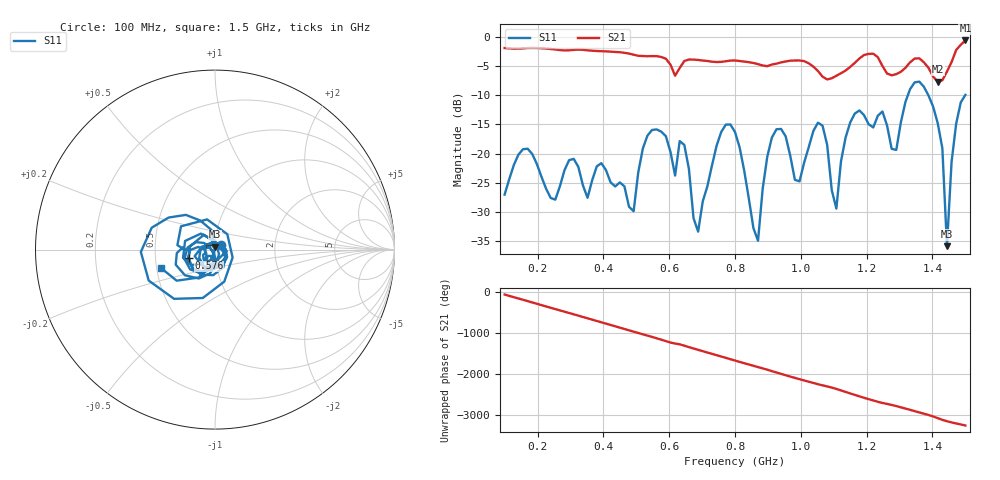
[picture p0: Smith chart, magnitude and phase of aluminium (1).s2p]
! NanoVNA-App
! Date: 2025-09-25 17:45:56
! Start: 100MHz Stop: 1,5GHz Points: 101
! S-Parameter data: F S11 S21 S12 S22
# Hz S RI R 50
!  Frequency  S11_Real  S11_Imag  S21_Real  S21_Imag  S12_Real  S12_Imag  S22_Real  S22_Imag
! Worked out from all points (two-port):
!   101 points, 100 MHz to 1.5 GHz, reference 50 ohm
!   highest |S21| = -0.62 dB at 1.5 GHz (marker M1); lowest = -7.7 dB at 1.416 GHz (marker M2)
!   |S21| within 3 dB of the highest: start of sweep to 584.1 MHz; 1.18 GHz to 1.235 GHz (55.38 MHz wide, 4.59 % of centre)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
!   lowest |S11| = -35.8 dB at 1.444 GHz (marker M3), VSWR 1.03, Z = 49.9 + j1.61 ohm
!   |S11| at or under -10 dB: start of sweep to 1.325 GHz; 1.387 GHz to 1.499 GHz (111.9 MHz wide, 7.75 % of centre)
!   S12 and S22 are empty: the file has one direction only
!   S11 on the Smith chart (normalised r, x): 100 MHz: 1.07, +0.06; 576 MHz: 0.74, -0.07; 1.5 GHz: 0.53, -0.12
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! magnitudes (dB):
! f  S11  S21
! 100 MHz  -27.0  -1.9
! 156 MHz  -19.2  -2.0
! 338 MHz  -25.4  -2.2
! 492 MHz  -29.9  -3.1
! 576 MHz  -16.2  -3.4
! 646 MHz  -18.5  -4.1
! 688 MHz  -33.3  -4.0
! 758 MHz  -16.3  -4.3
! 800 MHz  -16.3  -4.0
! 870 MHz  -34.9  -4.7
! 912 MHz  -17.3  -4.7
! 996 MHz  -24.7  -4.0
! 1.038 GHz  -16.1  -5.1
! 1.108 GHz  -29.4  -6.7
! 1.164 GHz  -13.1  -4.5
! 1.276 GHz  -19.2  -6.6
! 1.346 GHz  -7.8  -3.7
! 1.416 GHz  -14.8  -7.7
! 1.43 GHz  -19.1  -7.4
! 1.444 GHz  -35.8  -5.9
! 1.472 GHz  -14.9  -2.3
! 1.5 GHz  -9.9  -0.6
